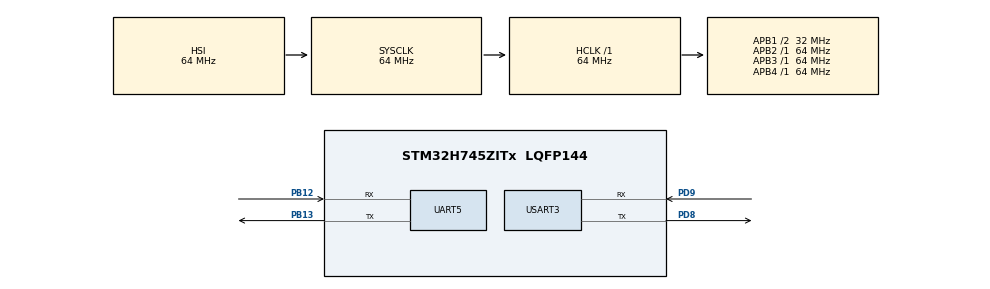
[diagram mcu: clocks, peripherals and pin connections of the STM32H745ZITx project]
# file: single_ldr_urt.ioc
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CortexM4.IPs=BDMA,CORTEX_M4\:I,DEBUG,DMA,FATFS_M4\:I,FREERTOS_M4\:I,GPIO,IWDG2\:I,MDMA,NVIC2\:I,OPENAMP_M4\:I,PDM2PCM_M4\:I,PWR,RCC,RESMGR_UTILITY,SYS_M4\:I,USB_DEVICE_M4\:I,USB_HOST_M4\:I,VREFBUF,WWDG2\:I
CortexM7.IPs=BDMA\:I,CORTEX_M7\:I,DEBUG\:I,DMA\:I,FATFS_M7\:I,FREERTOS_M7\:I,GPIO\:I,IWDG1\:I,MDMA\:I,NVIC1\:I,OPENAMP_M7\:I,PDM2PCM_M7\:I,PWR\:I,RCC\:I,RESMGR_UTILITY\:I,SYS\:I,USB_DEVICE_M7\:I,USB_HOST_M7\:I,VREFBUF\:I,WWDG1\:I,USART3\:I,UART5\:I
Dma.Request0=USART3_RX
Dma.Request1=USART3_TX
Dma.Request2=UART5_RX
Dma.Request3=UART5_TX
Dma.UART5_RX.2.Direction=DMA_PERIPH_TO_MEMORY
Dma.UART5_RX.2.EventEnable=DISABLE
Dma.UART5_RX.2.FIFOMode=DMA_FIFOMODE_DISABLE
Dma.UART5_RX.2.Instance=DMA1_Stream2
Dma.UART5_RX.2.MemDataAlignment=DMA_MDATAALIGN_BYTE
Dma.UART5_RX.2.MemInc=DMA_MINC_ENABLE
Dma.UART5_RX.2.Mode=DMA_CIRCULAR
Dma.UART5_RX.2.PeriphDataAlignment=DMA_PDATAALIGN_BYTE
Dma.UART5_RX.2.PeriphInc=DMA_PINC_DISABLE
Dma.UART5_RX.2.Polarity=HAL_DMAMUX_REQ_GEN_RISING
Dma.UART5_RX.2.Priority=DMA_PRIORITY_LOW
Dma.UART5_RX.2.RequestNumber=1
Dma.UART5_RX.2.SignalID=NONE
Dma.UART5_RX.2.SyncEnable=DISABLE
Dma.UART5_RX.2.SyncPolarity=HAL_DMAMUX_SYNC_NO_EVENT
Dma.UART5_RX.2.SyncRequestNumber=1
Dma.UART5_RX.2.SyncSignalID=NONE
Dma.UART5_TX.3.Direction=DMA_MEMORY_TO_PERIPH
Dma.UART5_TX.3.EventEnable=DISABLE
Dma.UART5_TX.3.FIFOMode=DMA_FIFOMODE_DISABLE
Dma.UART5_TX.3.Instance=DMA1_Stream3
Dma.UART5_TX.3.MemDataAlignment=DMA_MDATAALIGN_BYTE
Dma.UART5_TX.3.MemInc=DMA_MINC_ENABLE
Dma.UART5_TX.3.Mode=DMA_CIRCULAR
Dma.UART5_TX.3.PeriphDataAlignment=DMA_PDATAALIGN_BYTE
Dma.UART5_TX.3.PeriphInc=DMA_PINC_DISABLE
Dma.UART5_TX.3.Polarity=HAL_DMAMUX_REQ_GEN_RISING
Dma.UART5_TX.3.Priority=DMA_PRIORITY_LOW
Dma.UART5_TX.3.RequestNumber=1
Dma.UART5_TX.3.SignalID=NONE
Dma.UART5_TX.3.SyncEnable=DISABLE
Dma.UART5_TX.3.SyncPolarity=HAL_DMAMUX_SYNC_NO_EVENT
Dma.UART5_TX.3.SyncRequestNumber=1
Dma.UART5_TX.3.SyncSignalID=NONE
Dma.USART3_RX.0.Direction=DMA_PERIPH_TO_MEMORY
Dma.USART3_RX.0.EventEnable=DISABLE
Dma.USART3_RX.0.FIFOMode=DMA_FIFOMODE_DISABLE
Dma.USART3_RX.0.Instance=DMA1_Stream0
Dma.USART3_RX.0.MemDataAlignment=DMA_MDATAALIGN_BYTE
Dma.USART3_RX.0.MemInc=DMA_MINC_ENABLE
Dma.USART3_RX.0.Mode=DMA_CIRCULAR
Dma.USART3_RX.0.PeriphDataAlignment=DMA_PDATAALIGN_BYTE
Dma.USART3_RX.0.PeriphInc=DMA_PINC_DISABLE
Dma.USART3_RX.0.Polarity=HAL_DMAMUX_REQ_GEN_RISING
Dma.USART3_RX.0.Priority=DMA_PRIORITY_LOW
Dma.USART3_RX.0.RequestNumber=1
Dma.USART3_RX.0.SignalID=NONE
Dma.USART3_RX.0.SyncEnable=DISABLE
Dma.USART3_RX.0.SyncPolarity=HAL_DMAMUX_SYNC_NO_EVENT
Dma.USART3_RX.0.SyncRequestNumber=1
Dma.USART3_RX.0.SyncSignalID=NONE
Dma.USART3_TX.1.Direction=DMA_MEMORY_TO_PERIPH
Dma.USART3_TX.1.EventEnable=DISABLE
Dma.USART3_TX.1.FIFOMode=DMA_FIFOMODE_DISABLE
Dma.USART3_TX.1.Instance=DMA1_Stream1
Dma.USART3_TX.1.MemDataAlignment=DMA_MDATAALIGN_BYTE
Dma.USART3_TX.1.MemInc=DMA_MINC_ENABLE
Dma.USART3_TX.1.Mode=DMA_CIRCULAR
Dma.USART3_TX.1.PeriphDataAlignment=DMA_PDATAALIGN_BYTE
Dma.USART3_TX.1.PeriphInc=DMA_PINC_DISABLE
Dma.USART3_TX.1.Polarity=HAL_DMAMUX_REQ_GEN_RISING
Dma.USART3_TX.1.Priority=DMA_PRIORITY_LOW
Dma.USART3_TX.1.RequestNumber=1
Dma.USART3_TX.1.SignalID=NONE
Dma.USART3_TX.1.SyncEnable=DISABLE
Dma.USART3_TX.1.SyncPolarity=HAL_DMAMUX_SYNC_NO_EVENT
Dma.USART3_TX.1.SyncRequestNumber=1
Dma.USART3_TX.1.SyncSignalID=NONE
Mcu.Family=STM32H7
Mcu.Name=STM32H745ZITx
Mcu.Package=LQFP144
NVIC1.DMA1_Stream0_IRQn=true\:0\:0\:false\:false\:true\:false\:true\:true
NVIC1.DMA1_Stream1_IRQn=true\:0\:0\:false\:false\:true\:false\:true\:true
NVIC1.DMA1_Stream2_IRQn=true\:0\:0\:false\:false\:true\:false\:true\:true
NVIC1.DMA1_Stream3_IRQn=true\:0\:0\:false\:false\:true\:false\:true\:true
NVIC1.PriorityGroup=NVIC_PRIORITYGROUP_4
NVIC1.UART5_IRQn=true\:0\:0\:false\:false\:true\:true\:true\:true
NVIC1.USART3_IRQn=true\:0\:0\:false\:false\:true\:true\:true\:true
NVIC2.PriorityGroup=NVIC_PRIORITYGROUP_4
PB12.Mode=Asynchronous
PB12.PinAttribute=CortexM7
PB12.Signal=UART5_RX
PB13.Mode=Asynchronous
PB13.PinAttribute=CortexM7
PB13.Signal=UART5_TX
PC14-OSC32_IN\ (OSC32_IN).Mode=LSE-External-Oscillator
PC14-OSC32_IN\ (OSC32_IN).PinAttribute=Free
PC14-OSC32_IN\ (OSC32_IN).Signal=RCC_OSC32_IN
PC15-OSC32_OUT\ (OSC32_OUT).Mode=LSE-External-Oscillator
PC15-OSC32_OUT\ (OSC32_OUT).PinAttribute=Free
PC15-OSC32_OUT\ (OSC32_OUT).Signal=RCC_OSC32_OUT
PD8.Mode=Asynchronous
PD8.PinAttribute=CortexM7
PD8.Signal=USART3_TX
PD9.Mode=Asynchronous
PD9.PinAttribute=CortexM7
PD9.Signal=USART3_RX
PH0-OSC_IN\ (PH0).Mode=HSE-External-Oscillator
PH0-OSC_IN\ (PH0).PinAttribute=Free
PH0-OSC_IN\ (PH0).Signal=RCC_OSC_IN
PH1-OSC_OUT\ (PH1).Mode=HSE-External-Oscillator
PH1-OSC_OUT\ (PH1).PinAttribute=Free
PH1-OSC_OUT\ (PH1).Signal=RCC_OSC_OUT
ProjectManager.HeapSize=M4-0x200,M7-0x200
ProjectManager.StackSize=M4-0x400,M7-0x400
ProjectManager.TargetToolchain=STM32CubeIDE
RCC.ADCFreq_Value=129000000
RCC.APB1Freq_Value=32000000
RCC.APB2Freq_Value=64000000
RCC.APB3Freq_Value=64000000
RCC.APB4Freq_Value=64000000
RCC.CortexFreq_Value=64000000
RCC.D2PPRE1=RCC_APB1_DIV2
RCC.HCLKFreq_Value=64000000
RCC.SYSCLKFreq_VALUE=64000000
RCC.USBFreq_Value=129000000
SYS.userName=SYS_M7
USART3.VirtualMode-Asynchronous=VM_ASYNC
VP_SYS_M4_VS_Systick.Mode=SysTick
board=custom

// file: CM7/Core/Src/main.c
/* USER CODE BEGIN Header */
/**
  ******************************************************************************
  * @file           : main.c
  * @brief          : Main program body
  ******************************************************************************
  * @attention
  *
  * Copyright (c) 2023 STMicroelectronics.
  * All rights reserved.
  *
  * This software is licensed under terms that can be found in the LICENSE file
  * in the root directory of this software component.
  * If no LICENSE file comes with this software, it is provided AS-IS.
  *
  ******************************************************************************
  */
/* USER CODE END Header */
#include "main.h"

/* USER CODE BEGIN Includes */
#include <string.h>
#include <stdio.h>
/* USER CODE END Includes */

/* USER CODE BEGIN PD */

#ifndef HSEM_ID_0
#define HSEM_ID_0 (0U) /* HW semaphore 0*/
#endif

/* USER CODE END PD */

UART_HandleTypeDef huart5;
UART_HandleTypeDef huart3;
DMA_HandleTypeDef hdma_uart5_rx;
DMA_HandleTypeDef hdma_uart5_tx;
DMA_HandleTypeDef hdma_usart3_rx;
DMA_HandleTypeDef hdma_usart3_tx;

/* USER CODE BEGIN PV */
uint8_t tfminiData[9];
int distance = 0;
int strength = 0;
/* USER CODE END PV */

void SystemClock_Config(void);
static void MPU_Initialize(void);
static void MPU_Config(void);
static void MX_GPIO_Init(void);
static void MX_DMA_Init(void);
static void MX_USART3_UART_Init(void);
static void MX_UART5_Init(void);

/* USER CODE BEGIN 0 */
void getTFminiData()
{
  static uint8_t i = 0;
  uint8_t j = 0;
  int checksum = 0;

  HAL_UART_Receive(&huart5, &tfminiData[i], 1, 10);

{
	  //HAL_UART_Transmit(&huart3, tfminiData[i], 1, 100);
  if (tfminiData[0] != 0x59)
  {
    i = 0;
  }
  else if (i == 1 && tfminiData[1] != 0x59)
  {
    i = 0;
  }
  else if (i == 8)
  {
    for (j = 0; j < 8; j++)
    {
      checksum += tfminiData[j];
    }
    if (tfminiData[8] == (checksum % 256))
    {
      distance = tfminiData[2] + (tfminiData[3] << 8);
      strength = tfminiData[4] + (tfminiData[5] << 8);
    }
    i = 0;
  }
  else
  {
    i++;
  }
}
}
/* USER CODE END 0 */

int main(void)
{
/* USER CODE BEGIN Boot_Mode_Sequence_0 */
  int32_t timeout;
/* USER CODE END Boot_Mode_Sequence_0 */

/* USER CODE BEGIN Boot_Mode_Sequence_1 */
  /* Wait until CPU2 boots and enters in stop mode or timeout*/
  timeout = 0xFFFF;
  while((__HAL_RCC_GET_FLAG(RCC_FLAG_D2CKRDY) != RESET) && (timeout-- > 0));
  if ( timeout < 0 )
  {
  Error_Handler();
  }
/* USER CODE END Boot_Mode_Sequence_1 */
  /* MCU Configuration--------------------------------------------------------*/

  /* Reset of all peripherals, Initializes the Flash interface and the Systick. */
  HAL_Init();

  /* MPU Configuration--------------------------------------------------------*/
  MPU_Config();

  /* Configure the system clock */
  SystemClock_Config();
/* USER CODE BEGIN Boot_Mode_Sequence_2 */
/* When system initialization is finished, Cortex-M7 will release Cortex-M4 by means of
HSEM notification */
/*HW semaphore Clock enable*/
__HAL_RCC_HSEM_CLK_ENABLE();
/*Take HSEM */
HAL_HSEM_FastTake(HSEM_ID_0);
/*Release HSEM in order to notify the CPU2(CM4)*/
HAL_HSEM_Release(HSEM_ID_0,0);
/* wait until CPU2 wakes up from stop mode */
timeout = 0xFFFF;
while((__HAL_RCC_GET_FLAG(RCC_FLAG_D2CKRDY) == RESET) && (timeout-- > 0));
if ( timeout < 0 )
{
Error_Handler();
}
/* USER CODE END Boot_Mode_Sequence_2 */

  /* Initialize all configured peripherals */
  MX_GPIO_Init();
  MX_DMA_Init();
  MX_USART3_UART_Init();
  MX_UART5_Init();
  /* USER CODE BEGIN 2 */
//  setUpLiudarDMA();
  /* USER CODE END 2 */

  /* Infinite loop */
  while (1)
  {

    /* USER CODE BEGIN 3 */

	  getTFminiData();

  }
  /* USER CODE END 3 */
}

void SystemClock_Config(void)
{
  RCC_OscInitTypeDef RCC_OscInitStruct = {0};
  RCC_ClkInitTypeDef RCC_ClkInitStruct = {0};

  /** Supply configuration update enable
  */
  HAL_PWREx_ConfigSupply(PWR_DIRECT_SMPS_SUPPLY);

  /** Configure the main internal regulator output voltage
  */
  __HAL_PWR_VOLTAGESCALING_CONFIG(PWR_REGULATOR_VOLTAGE_SCALE3);

  while(!__HAL_PWR_GET_FLAG(PWR_FLAG_VOSRDY)) {}

  /** Initializes the RCC Oscillators according to the specified parameters
  * in the RCC_OscInitTypeDef structure.
  */
  RCC_OscInitStruct.OscillatorType = RCC_OSCILLATORTYPE_HSI;
  RCC_OscInitStruct.HSIState = RCC_HSI_DIV1;
  RCC_OscInitStruct.HSICalibrationValue = RCC_HSICALIBRATION_DEFAULT;
  RCC_OscInitStruct.PLL.PLLState = RCC_PLL_NONE;
  if (HAL_RCC_OscConfig(&RCC_OscInitStruct) != HAL_OK)
  {
    Error_Handler();
  }

  /** Initializes the CPU, AHB and APB buses clocks
  */
  RCC_ClkInitStruct.ClockType = RCC_CLOCKTYPE_HCLK|RCC_CLOCKTYPE_SYSCLK
                              |RCC_CLOCKTYPE_PCLK1|RCC_CLOCKTYPE_PCLK2
                              |RCC_CLOCKTYPE_D3PCLK1|RCC_CLOCKTYPE_D1PCLK1;
  RCC_ClkInitStruct.SYSCLKSource = RCC_SYSCLKSOURCE_HSI;
  RCC_ClkInitStruct.SYSCLKDivider = RCC_SYSCLK_DIV1;
  RCC_ClkInitStruct.AHBCLKDivider = RCC_HCLK_DIV1;
  RCC_ClkInitStruct.APB3CLKDivider = RCC_APB3_DIV1;
  RCC_ClkInitStruct.APB1CLKDivider = RCC_APB1_DIV2;
  RCC_ClkInitStruct.APB2CLKDivider = RCC_APB2_DIV1;
  RCC_ClkInitStruct.APB4CLKDivider = RCC_APB4_DIV1;

  if (HAL_RCC_ClockConfig(&RCC_ClkInitStruct, FLASH_LATENCY_1) != HAL_OK)
  {
    Error_Handler();
  }
}

static void MX_UART5_Init(void)
{

  huart5.Instance = UART5;
  huart5.Init.BaudRate = 115200;
  huart5.Init.WordLength = UART_WORDLENGTH_8B;
  huart5.Init.StopBits = UART_STOPBITS_1;
  huart5.Init.Parity = UART_PARITY_NONE;
  huart5.Init.Mode = UART_MODE_TX_RX;
  huart5.Init.HwFlowCtl = UART_HWCONTROL_NONE;
  huart5.Init.OverSampling = UART_OVERSAMPLING_16;
  huart5.Init.OneBitSampling = UART_ONE_BIT_SAMPLE_DISABLE;
  huart5.Init.ClockPrescaler = UART_PRESCALER_DIV1;
  huart5.AdvancedInit.AdvFeatureInit = UART_ADVFEATURE_NO_INIT;
  if (HAL_UART_Init(&huart5) != HAL_OK)
  {
    Error_Handler();
  }
  if (HAL_UARTEx_SetTxFifoThreshold(&huart5, UART_TXFIFO_THRESHOLD_1_8) != HAL_OK)
  {
    Error_Handler();
  }
  if (HAL_UARTEx_SetRxFifoThreshold(&huart5, UART_RXFIFO_THRESHOLD_1_8) != HAL_OK)
  {
    Error_Handler();
  }
  if (HAL_UARTEx_DisableFifoMode(&huart5) != HAL_OK)
  {
    Error_Handler();
  }
  /* USER CODE BEGIN UART5_Init 2 */
  if (HAL_UART_Receive_DMA(&huart5, tfminiData, sizeof(tfminiData)) != HAL_OK)
  {
	Error_Handler();
  }
  /* USER CODE END UART5_Init 2 */

}

static void MX_USART3_UART_Init(void)
{

  huart3.Instance = USART3;
  huart3.Init.BaudRate = 115200;
  huart3.Init.WordLength = UART_WORDLENGTH_8B;
  huart3.Init.StopBits = UART_STOPBITS_1;
  huart3.Init.Parity = UART_PARITY_NONE;
  huart3.Init.Mode = UART_MODE_TX_RX;
  huart3.Init.HwFlowCtl = UART_HWCONTROL_NONE;
  huart3.Init.OverSampling = UART_OVERSAMPLING_16;
  huart3.Init.OneBitSampling = UART_ONE_BIT_SAMPLE_DISABLE;
  huart3.Init.ClockPrescaler = UART_PRESCALER_DIV1;
  huart3.AdvancedInit.AdvFeatureInit = UART_ADVFEATURE_NO_INIT;
  if (HAL_UART_Init(&huart3) != HAL_OK)
  {
    Error_Handler();
  }
  if (HAL_UARTEx_SetTxFifoThreshold(&huart3, UART_TXFIFO_THRESHOLD_1_8) != HAL_OK)
  {
    Error_Handler();
  }
  if (HAL_UARTEx_SetRxFifoThreshold(&huart3, UART_RXFIFO_THRESHOLD_1_8) != HAL_OK)
  {
    Error_Handler();
  }
  if (HAL_UARTEx_DisableFifoMode(&huart3) != HAL_OK)
  {
    Error_Handler();
  }

}

static void MX_DMA_Init(void)
{

  /* DMA controller clock enable */
  __HAL_RCC_DMA1_CLK_ENABLE();

  /* DMA interrupt init */
  /* DMA1_Stream0_IRQn interrupt configuration */
  HAL_NVIC_SetPriority(DMA1_Stream0_IRQn, 0, 0);
  HAL_NVIC_EnableIRQ(DMA1_Stream0_IRQn);
  /* DMA1_Stream1_IRQn interrupt configuration */
  HAL_NVIC_SetPriority(DMA1_Stream1_IRQn, 0, 0);
  HAL_NVIC_EnableIRQ(DMA1_Stream1_IRQn);
  /* DMA1_Stream2_IRQn interrupt configuration */
  HAL_NVIC_SetPriority(DMA1_Stream2_IRQn, 0, 0);
  HAL_NVIC_EnableIRQ(DMA1_Stream2_IRQn);
  /* DMA1_Stream3_IRQn interrupt configuration */
  HAL_NVIC_SetPriority(DMA1_Stream3_IRQn, 0, 0);
  HAL_NVIC_EnableIRQ(DMA1_Stream3_IRQn);

}

static void MX_GPIO_Init(void)
{

  /* GPIO Ports Clock Enable */
  __HAL_RCC_GPIOB_CLK_ENABLE();
  __HAL_RCC_GPIOD_CLK_ENABLE();

}

/* USER CODE BEGIN 4 */

void HAL_UART_RxCpltCallback(UART_HandleTypeDef *huart)
{
        getTFminiData();
}

/* USER CODE END 4 */

/* MPU Configuration */

void MPU_Config(void)
{
  MPU_Region_InitTypeDef MPU_InitStruct = {0};

  /* Disables the MPU */
  HAL_MPU_Disable();

  /** Initializes and configures the Region and the memory to be protected
  */
  MPU_InitStruct.Enable = MPU_REGION_ENABLE;
  MPU_InitStruct.Number = MPU_REGION_NUMBER0;
  MPU_InitStruct.BaseAddress = 0x0;
  MPU_InitStruct.Size = MPU_REGION_SIZE_4GB;
  MPU_InitStruct.SubRegionDisable = 0x87;
  MPU_InitStruct.TypeExtField = MPU_TEX_LEVEL0;
  MPU_InitStruct.AccessPermission = MPU_REGION_NO_ACCESS;
  MPU_InitStruct.DisableExec = MPU_INSTRUCTION_ACCESS_DISABLE;
  MPU_InitStruct.IsShareable = MPU_ACCESS_SHAREABLE;
  MPU_InitStruct.IsCacheable = MPU_ACCESS_NOT_CACHEABLE;
  MPU_InitStruct.IsBufferable = MPU_ACCESS_NOT_BUFFERABLE;

  HAL_MPU_ConfigRegion(&MPU_InitStruct);
  /* Enables the MPU */
  HAL_MPU_Enable(MPU_PRIVILEGED_DEFAULT);

}

void Error_Handler(void)
{
  __disable_irq();
  while (1)
  {
  }
}
